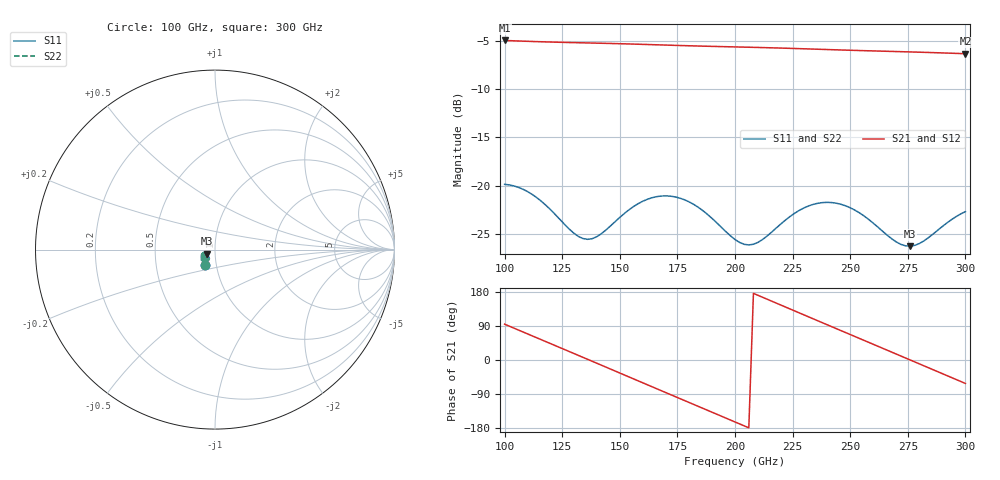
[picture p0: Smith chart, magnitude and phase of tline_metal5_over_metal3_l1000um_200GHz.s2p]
#  GHZ S DB R 50
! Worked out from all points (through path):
!   101 points, 100 GHz to 300 GHz, reference 50 ohm
!   highest |S21| = -4.93 dB at 100 GHz (marker M1); lowest = -6.3 dB at 300 GHz (marker M2)
!   group delay of S21, straight-line fit = 7.17 ps
!   lowest |S11| = -26.3 dB at 276 GHz (marker M3), VSWR 1.10, Z = 45.8 - j2.06 ohm
!   |S11| at or under -10 dB: start of sweep to end of sweep
!   |S22| runs from -26.2 to -19.9 dB; largest |S21 - S12| = 6.4e-14
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100  -19.87 -122.9  -4.93 94.5  -4.93 94.5  -19.95 -123.6
108  -20.38 -134.7  -5.00 73.9  -5.00 73.9  -20.47 -135.4
116  -21.64 -144.1  -5.07 53.4  -5.07 53.4  -21.76 -144.6
126  -24.02 -147.2  -5.13 27.6  -5.13 27.6  -24.20 -147.2
134  -25.50 -138.1  -5.18 7.0  -5.18 7.0  -25.68 -137.2
142  -24.99 -125.8  -5.22 -13.7  -5.22 -13.7  -25.06 -124.2
150  -23.30 -122.5  -5.27 -34.4  -5.27 -34.4  -23.27 -121.1
160  -21.62 -129.7  -5.34 -60.3  -5.34 -60.3  -21.55 -128.5
168  -21.08 -139.2  -5.39 -81.0  -5.39 -81.0  -21.01 -138.2
182  -21.94 -155.9  -5.49 -117.1  -5.49 -117.1  -21.87 -155.0
192  -23.84 -161.6  -5.56 -142.8  -5.56 -142.8  -23.81 -160.7
200  -25.59 -156.9  -5.60 -163.5  -5.60 -163.5  -25.59 -155.8
208  -26.09 -144.1  -5.65 175.8  -5.65 175.8  -26.08 -142.6
216  -24.81 -135.0  -5.69 155.1  -5.69 155.1  -24.76 -133.3
226  -22.85 -136.6  -5.76 129.2  -5.76 129.2  -22.77 -134.9
234  -21.94 -143.8  -5.83 108.5  -5.83 108.5  -21.84 -142.1
242  -21.76 -152.6  -5.89 87.9  -5.89 87.9  -21.65 -150.9
250  -22.30 -160.9  -5.95 67.2  -5.95 67.2  -22.17 -159.2
268  -25.52 -163.7  -6.07 20.8  -6.07 20.8  -25.34 -162.3
276  -26.29 -152.5  -6.12 0.2  -6.12 0.2  -26.12 -151.6
288  -24.63 -140.0  -6.21 -30.8  -6.21 -30.8  -24.57 -139.6
300  -22.70 -144.2  -6.31 -61.8  -6.31 -61.8  -22.74 -143.9
